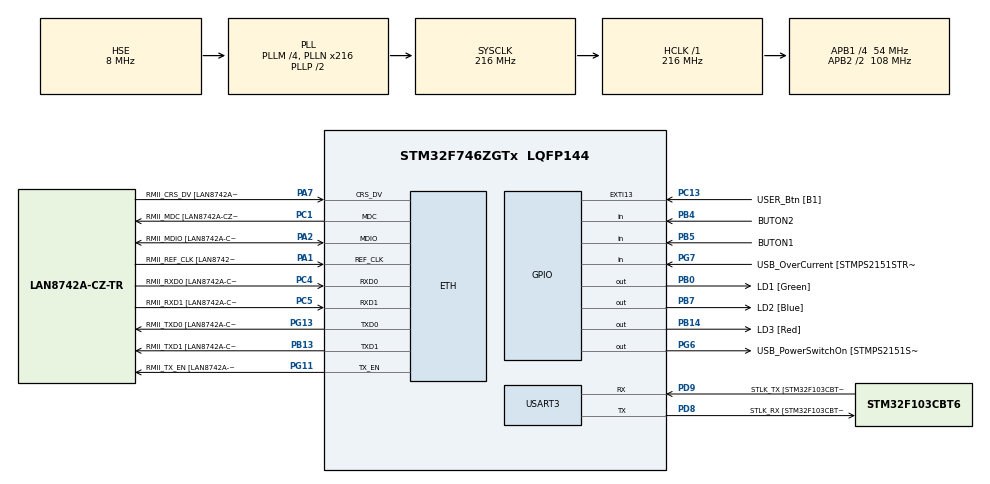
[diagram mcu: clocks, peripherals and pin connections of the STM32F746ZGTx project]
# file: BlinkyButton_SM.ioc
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ETH.MediaInterface=ETH_MEDIA_INTERFACE_RMII
ETH.PHY_Name=LAN8742A_PHY_ADDRESS
ETH.PHY_Value=0
ETH.PhyAddress=0
FREERTOS.Tasks01=defaultTask,0,128,StartDefaultTask,Default,NULL,Dynamic,NULL,NULL
FREERTOS.configCHECK_FOR_STACK_OVERFLOW=2
FREERTOS.configGENERATE_RUN_TIME_STATS=1
FREERTOS.configUSE_IDLE_HOOK=1
FREERTOS.configUSE_MALLOC_FAILED_HOOK=1
FREERTOS.configUSE_NEWLIB_REENTRANT=1
FREERTOS.configUSE_STATS_FORMATTING_FUNCTIONS=1
FREERTOS.configUSE_TICK_HOOK=1
FREERTOS.configUSE_TRACE_FACILITY=1
Mcu.Family=STM32F7
Mcu.Name=STM32F746ZGTx
Mcu.Package=LQFP144
NVIC.EXTI15_10_IRQn=true\:5\:0\:false\:false\:true\:true\:true\:true\:true
NVIC.PriorityGroup=NVIC_PRIORITYGROUP_4
NVIC.TIM1_UP_TIM10_IRQn=true\:15\:0\:false\:false\:true\:false\:false\:true\:true
NVIC.TimeBase=TIM1_UP_TIM10_IRQn
NVIC.TimeBaseIP=TIM1
PA1.GPIO_Label=RMII_REF_CLK [LAN8742A-CZ-TR_REFCLK0]
PA1.Mode=RMII
PA1.Signal=ETH_REF_CLK
PA13.GPIO_Label=TMS
PA13.Mode=Trace_Asynchronous_SW
PA13.Signal=SYS_JTMS-SWDIO
PA14.GPIO_Label=TCK
PA14.Mode=Trace_Asynchronous_SW
PA14.Signal=SYS_JTCK-SWCLK
PA2.GPIO_Label=RMII_MDIO [LAN8742A-CZ-TR_MDIO]
PA2.Mode=RMII
PA2.Signal=ETH_MDIO
PA7.GPIO_Label=RMII_CRS_DV [LAN8742A-CZ-TR_CRS_DV]
PA7.Mode=RMII
PA7.Signal=ETH_CRS_DV
PB0.GPIO_Label=LD1 [Green]
PB0.Signal=GPIO_Output
PB13.GPIO_Label=RMII_TXD1 [LAN8742A-CZ-TR_TXD1]
PB13.Mode=RMII
PB13.Signal=ETH_TXD1
PB14.GPIO_Label=LD3 [Red]
PB14.Signal=GPIO_Output
PB3.GPIO_Label=SW0
PB3.Mode=Trace_Asynchronous_SW
PB3.Signal=SYS_JTDO-SWO
PB4.GPIO_Label=BUTON2
PB4.GPIO_PuPd=GPIO_PULLDOWN
PB4.Signal=GPIO_Input
PB5.GPIO_Label=BUTON1
PB5.GPIO_PuPd=GPIO_PULLDOWN
PB5.Signal=GPIO_Input
PB7.GPIO_Label=LD2 [Blue]
PB7.Signal=GPIO_Output
PC1.GPIO_Label=RMII_MDC [LAN8742A-CZ-TR_MDC]
PC1.Mode=RMII
PC1.Signal=ETH_MDC
PC13.GPIO_Label=USER_Btn [B1]
PC13.GPIO_ModeDefaultEXTI=GPIO_MODE_IT_RISING_FALLING
PC13.GPIO_PuPd=GPIO_PULLDOWN
PC13.Signal=GPXTI13
PC14/OSC32_IN.Mode=LSE-External-Oscillator
PC14/OSC32_IN.Signal=RCC_OSC32_IN
PC15/OSC32_OUT.Mode=LSE-External-Oscillator
PC15/OSC32_OUT.Signal=RCC_OSC32_OUT
PC4.GPIO_Label=RMII_RXD0 [LAN8742A-CZ-TR_RXD0]
PC4.Mode=RMII
PC4.Signal=ETH_RXD0
PC5.GPIO_Label=RMII_RXD1 [LAN8742A-CZ-TR_RXD1]
PC5.Mode=RMII
PC5.Signal=ETH_RXD1
PD8.GPIO_Label=STLK_RX [STM32F103CBT6_PA3]
PD8.Mode=Asynchronous
PD8.Signal=USART3_TX
PD9.GPIO_Label=STLK_TX [STM32F103CBT6_PA2]
PD9.Mode=Asynchronous
PD9.Signal=USART3_RX
PG11.GPIO_Label=RMII_TX_EN [LAN8742A-CZ-TR_TXEN]
PG11.Mode=RMII
PG11.Signal=ETH_TX_EN
PG13.GPIO_Label=RMII_TXD0 [LAN8742A-CZ-TR_TXD0]
PG13.Mode=RMII
PG13.Signal=ETH_TXD0
PG6.GPIO_Label=USB_PowerSwitchOn [STMPS2151STR_EN]
PG6.Signal=GPIO_Output
PG7.GPIO_Label=USB_OverCurrent [STMPS2151STR_FAULT]
PG7.Signal=GPIO_Input
PH0/OSC_IN.GPIO_Label=MCO [STM32F103CBT6_PA8]
PH0/OSC_IN.Mode=HSE-External-Clock-Source
PH0/OSC_IN.Signal=RCC_OSC_IN
PH1/OSC_OUT.Mode=HSE-External-Clock-Source
PH1/OSC_OUT.Signal=RCC_OSC_OUT
ProjectManager.HeapSize=0x200
ProjectManager.StackSize=0x400
ProjectManager.TargetToolchain=STM32CubeIDE
RCC.48MHZClocksFreq_Value=24000000
RCC.AHBFreq_Value=216000000
RCC.APB1CLKDivider=RCC_HCLK_DIV4
RCC.APB1Freq_Value=54000000
RCC.APB1TimFreq_Value=108000000
RCC.APB2CLKDivider=RCC_HCLK_DIV2
RCC.APB2Freq_Value=108000000
RCC.APB2TimCLKDivider=1
RCC.APB2TimFreq_Value=108000000
RCC.CortexFreq_Value=216000000
RCC.HCLKFreq_Value=216000000
RCC.HSE_VALUE=8000000
RCC.HSI_VALUE=16000000
RCC.PLLM=4
RCC.PLLMUL=RCC_PLL_MUL9
RCC.PLLN=216
RCC.PLLQ=9
RCC.PLLSourceVirtual=RCC_PLLSOURCE_HSE
RCC.PRESCALERUSB=RCC_USBCLKSOURCE_PLL_DIV1_5
RCC.SYSCLKFreq_VALUE=216000000
RCC.SYSCLKSource=RCC_SYSCLKSOURCE_PLLCLK
RCC.SYSCLKSourceVirtual=RCC_SYSCLKSOURCE_PLLCLK
RCC.USBFreq_Value=48000000
RCC.VCOOutputFreq_Value=432000000
USART3.VirtualMode-Asynchronous=VM_ASYNC
VP_FREERTOS_VS_CMSIS_V1.Mode=CMSIS_V1
VP_SYS_VS_tim1.Mode=TIM1
board=NUCLEO-F746ZG

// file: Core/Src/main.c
/* USER CODE BEGIN Header */
/**
  ******************************************************************************
  * @file           : main.c
  * @brief          : Main program body
  ******************************************************************************
  * @attention
  *
  * Copyright (c) 2022 STMicroelectronics.
  * All rights reserved.
  *
  * This software is licensed under terms that can be found in the LICENSE file
  * in the root directory of this software component.
  * If no LICENSE file comes with this software, it is provided AS-IS.
  *
  ******************************************************************************
  */
/* USER CODE END Header */
#include "main.h"
#include "cmsis_os.h"

/* USER CODE BEGIN Includes */
#include "stdio.h"
#include "stdlib.h"  /*For malloc function*/
#include "stdbool.h"
#include "retarget.h"
#include "qpc.h"
#include "BlinkyButton.h"

Q_DEFINE_THIS_FILE

/* USER CODE END Includes */

/* USER CODE BEGIN PD */

#define STACK_SIZE 260

/* The BlinkyButton AO ============================================================*/

StackType_t Stack_BlinkyButton[STACK_SIZE]; /*task stack*/
StaticTask_t BlinkyButtonTaskBuffer;
static Event *BlinkyButton_queue[10];
static BlinkyButton blinkybutton;
Active *AO_BlinkyButton = &blinkybutton.super;
/* USER CODE END PD */

ETH_HandleTypeDef heth;

UART_HandleTypeDef huart3;

osThreadId defaultTaskHandle;

void SystemClock_Config(void);
static void MX_GPIO_Init(void);
static void MX_ETH_Init(void);
static void MX_USART3_UART_Init(void);
void StartDefaultTask(void const * argument);

/* USER CODE BEGIN PFP */

void Q_onAssert(char const *module, int loc);

/* USER CODE END PFP */

int main(void)
{

  /* MCU Configuration--------------------------------------------------------*/

  /* Reset of all peripherals, Initializes the Flash interface and the Systick. */
  HAL_Init();

  /* Configure the system clock */
  SystemClock_Config();

  /* Initialize all configured peripherals */
  MX_GPIO_Init();
//  MX_ETH_Init();
  MX_USART3_UART_Init();
  /* USER CODE BEGIN 2 */
  RetargetInit(&huart3);

  /* USER CODE END 2 */

  /* Create the thread(s) */
  /* definition and creation of defaultTask */
  osThreadDef(defaultTask, StartDefaultTask, osPriorityNormal, 0, 128);
  defaultTaskHandle = osThreadCreate(osThread(defaultTask), NULL);

  /* USER CODE BEGIN RTOS_THREADS */
  /* add threads, ... */

  BlinkyButton_ctor(&blinkybutton);
  Active_start(AO_BlinkyButton,
		  	  configMINIMAL_STACK_SIZE,
			  1,
			  Stack_BlinkyButton,
			  &BlinkyButtonTaskBuffer,
			  BlinkyButton_queue,
			  sizeof(BlinkyButton_queue)/sizeof(BlinkyButton_queue[0]));
  /* USER CODE END RTOS_THREADS */

  /* Start scheduler */
  osKernelStart();

  /* We should never get here as control is now taken by the scheduler */
  /* Infinite loop */
  while (1)
  {

  }
}

void SystemClock_Config(void)
{
  RCC_OscInitTypeDef RCC_OscInitStruct = {0};
  RCC_ClkInitTypeDef RCC_ClkInitStruct = {0};

  /** Configure LSE Drive Capability
  */
  HAL_PWR_EnableBkUpAccess();

  /** Configure the main internal regulator output voltage
  */
  __HAL_RCC_PWR_CLK_ENABLE();
  __HAL_PWR_VOLTAGESCALING_CONFIG(PWR_REGULATOR_VOLTAGE_SCALE1);

  /** Initializes the RCC Oscillators according to the specified parameters
  * in the RCC_OscInitTypeDef structure.
  */
  RCC_OscInitStruct.OscillatorType = RCC_OSCILLATORTYPE_HSE;
  RCC_OscInitStruct.HSEState = RCC_HSE_BYPASS;
  RCC_OscInitStruct.PLL.PLLState = RCC_PLL_ON;
  RCC_OscInitStruct.PLL.PLLSource = RCC_PLLSOURCE_HSE;
  RCC_OscInitStruct.PLL.PLLM = 4;
  RCC_OscInitStruct.PLL.PLLN = 216;
  RCC_OscInitStruct.PLL.PLLP = RCC_PLLP_DIV2;
  RCC_OscInitStruct.PLL.PLLQ = 9;
  if (HAL_RCC_OscConfig(&RCC_OscInitStruct) != HAL_OK)
  {
    Error_Handler();
  }

  /** Activate the Over-Drive mode
  */
  if (HAL_PWREx_EnableOverDrive() != HAL_OK)
  {
    Error_Handler();
  }

  /** Initializes the CPU, AHB and APB buses clocks
  */
  RCC_ClkInitStruct.ClockType = RCC_CLOCKTYPE_HCLK|RCC_CLOCKTYPE_SYSCLK
                              |RCC_CLOCKTYPE_PCLK1|RCC_CLOCKTYPE_PCLK2;
  RCC_ClkInitStruct.SYSCLKSource = RCC_SYSCLKSOURCE_PLLCLK;
  RCC_ClkInitStruct.AHBCLKDivider = RCC_SYSCLK_DIV1;
  RCC_ClkInitStruct.APB1CLKDivider = RCC_HCLK_DIV4;
  RCC_ClkInitStruct.APB2CLKDivider = RCC_HCLK_DIV2;

  if (HAL_RCC_ClockConfig(&RCC_ClkInitStruct, FLASH_LATENCY_7) != HAL_OK)
  {
    Error_Handler();
  }
}

static void MX_ETH_Init(void)
{

   static uint8_t MACAddr[6];

  heth.Instance = ETH;
  heth.Init.AutoNegotiation = ETH_AUTONEGOTIATION_ENABLE;
  heth.Init.Speed = ETH_SPEED_100M;
  heth.Init.DuplexMode = ETH_MODE_FULLDUPLEX;
  heth.Init.PhyAddress = LAN8742A_PHY_ADDRESS;
  MACAddr[0] = 0x00;
  MACAddr[1] = 0x80;
  MACAddr[2] = 0xE1;
  MACAddr[3] = 0x00;
  MACAddr[4] = 0x00;
  MACAddr[5] = 0x00;
  heth.Init.MACAddr = &MACAddr[0];
  heth.Init.RxMode = ETH_RXPOLLING_MODE;
  heth.Init.ChecksumMode = ETH_CHECKSUM_BY_HARDWARE;
  heth.Init.MediaInterface = ETH_MEDIA_INTERFACE_RMII;

  if (HAL_ETH_Init(&heth) != HAL_OK)
  {
    Error_Handler();
  }

}

static void MX_USART3_UART_Init(void)
{

  huart3.Instance = USART3;
  huart3.Init.BaudRate = 115200;
  huart3.Init.WordLength = UART_WORDLENGTH_8B;
  huart3.Init.StopBits = UART_STOPBITS_1;
  huart3.Init.Parity = UART_PARITY_NONE;
  huart3.Init.Mode = UART_MODE_TX_RX;
  huart3.Init.HwFlowCtl = UART_HWCONTROL_NONE;
  huart3.Init.OverSampling = UART_OVERSAMPLING_16;
  huart3.Init.OneBitSampling = UART_ONE_BIT_SAMPLE_DISABLE;
  huart3.AdvancedInit.AdvFeatureInit = UART_ADVFEATURE_NO_INIT;
  if (HAL_UART_Init(&huart3) != HAL_OK)
  {
    Error_Handler();
  }

}

static void MX_GPIO_Init(void)
{
  GPIO_InitTypeDef GPIO_InitStruct = {0};

  /* GPIO Ports Clock Enable */
  __HAL_RCC_GPIOC_CLK_ENABLE();
  __HAL_RCC_GPIOH_CLK_ENABLE();
  __HAL_RCC_GPIOA_CLK_ENABLE();
  __HAL_RCC_GPIOB_CLK_ENABLE();
  __HAL_RCC_GPIOD_CLK_ENABLE();
  __HAL_RCC_GPIOG_CLK_ENABLE();

  /*Configure GPIO pin Output Level */
  HAL_GPIO_WritePin(GPIOB, LD1_Pin|LD3_Pin|LD2_Pin, GPIO_PIN_RESET);

  /*Configure GPIO pin Output Level */
  HAL_GPIO_WritePin(USB_PowerSwitchOn_GPIO_Port, USB_PowerSwitchOn_Pin, GPIO_PIN_RESET);

  /*Configure GPIO pin : USER_Btn_Pin */
  GPIO_InitStruct.Pin = USER_Btn_Pin;
  GPIO_InitStruct.Mode = GPIO_MODE_IT_RISING_FALLING;
  GPIO_InitStruct.Pull = GPIO_PULLDOWN;
  HAL_GPIO_Init(USER_Btn_GPIO_Port, &GPIO_InitStruct);

  /*Configure GPIO pins : LD1_Pin LD3_Pin LD2_Pin */
  GPIO_InitStruct.Pin = LD1_Pin|LD3_Pin|LD2_Pin;
  GPIO_InitStruct.Mode = GPIO_MODE_OUTPUT_PP;
  GPIO_InitStruct.Pull = GPIO_NOPULL;
  GPIO_InitStruct.Speed = GPIO_SPEED_FREQ_LOW;
  HAL_GPIO_Init(GPIOB, &GPIO_InitStruct);

  /*Configure GPIO pin : USB_PowerSwitchOn_Pin */
  GPIO_InitStruct.Pin = USB_PowerSwitchOn_Pin;
  GPIO_InitStruct.Mode = GPIO_MODE_OUTPUT_PP;
  GPIO_InitStruct.Pull = GPIO_NOPULL;
  GPIO_InitStruct.Speed = GPIO_SPEED_FREQ_LOW;
  HAL_GPIO_Init(USB_PowerSwitchOn_GPIO_Port, &GPIO_InitStruct);

  /*Configure GPIO pin : USB_OverCurrent_Pin */
  GPIO_InitStruct.Pin = USB_OverCurrent_Pin;
  GPIO_InitStruct.Mode = GPIO_MODE_INPUT;
  GPIO_InitStruct.Pull = GPIO_NOPULL;
  HAL_GPIO_Init(USB_OverCurrent_GPIO_Port, &GPIO_InitStruct);

  /*Configure GPIO pins : BUTON2_Pin BUTON1_Pin */
  GPIO_InitStruct.Pin = BUTON2_Pin|BUTON1_Pin;
  GPIO_InitStruct.Mode = GPIO_MODE_INPUT;
  GPIO_InitStruct.Pull = GPIO_PULLDOWN;
  HAL_GPIO_Init(GPIOB, &GPIO_InitStruct);

  /* EXTI interrupt init*/
  HAL_NVIC_SetPriority(EXTI15_10_IRQn, 5, 0);
  HAL_NVIC_EnableIRQ(EXTI15_10_IRQn);

}

/* USER CODE BEGIN 4 */

void Q_onAssert(char const *module, int loc) {
    /* TBD: damage control */
    (void)module; /* avoid the "unused parameter" compiler warning */
    (void)loc;    /* avoid the "unused parameter" compiler warning */
    NVIC_SystemReset();
}

void vApplicationStackOverflowHook( TaskHandle_t xTask,
                                    signed char *pcTaskName ){
	__NOP();
	Error_Handler();
}

void vApplicationTickHook( void ){
	App_TimeTickHook();
	__NOP();
}

void vApplicationMallocFailedHook( void ){
	__NOP();
	Error_Handler();
}

/* USER CODE END 4 */

void StartDefaultTask(void const * argument)
{
  for(;;)
  {
    osDelay(1);
  }
}

void HAL_TIM_PeriodElapsedCallback(TIM_HandleTypeDef *htim)
{
  if (htim->Instance == TIM1) {
    HAL_IncTick();
  }
}

void Error_Handler(void)
{
  __disable_irq();
  while (1)
  {
  }
}
